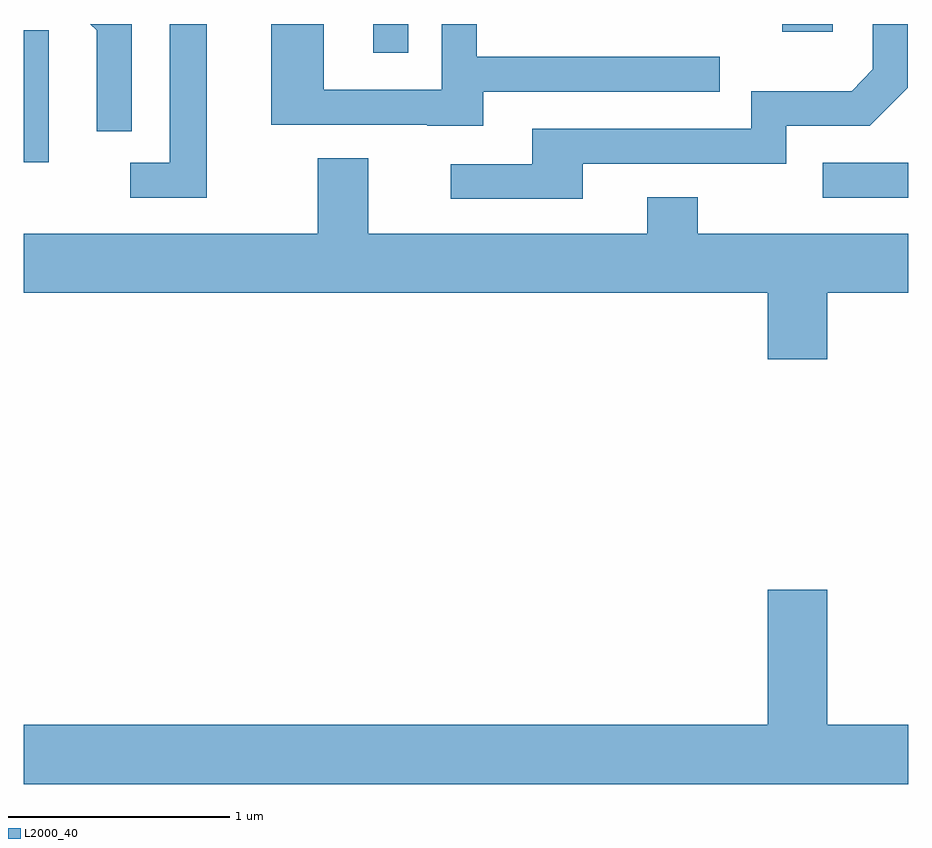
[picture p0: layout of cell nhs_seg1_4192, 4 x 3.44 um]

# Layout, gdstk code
import gdstk
lib = gdstk.Library(unit=1e-6, precision=1e-09)
def R(c, l, rs):  # rectangles x0, y0, x1, y1
    for r in rs: c.add(gdstk.rectangle(r[:2], r[2:], *l))
def P(c, l, *ps):  # polygons
    for p in ps: c.add(gdstk.Polygon(p, *l))
L2000_40 = (2000, 40)

nhs_seg1_4192 = lib.new_cell('nhs_seg1_4192')
R(nhs_seg1_4192, L2000_40, [(315.223,868.926,315.611,869.084), (311.611,869.086,311.724,869.684), (313.191,869.583,313.349,869.712), (315.041,869.676,315.269,869.712)])
P(nhs_seg1_4192, L2000_40, [(314.139,869.081),(315.059,869.081),(315.059,869.251),(315.437,869.251),(315.609,869.424),(315.609,869.712),(315.451,869.712),(315.451,869.507),(315.354,869.409),(314.901,869.409),(314.901,869.239),(313.911,869.239),(313.911,869.079),(313.543,869.079),(313.543,868.921),(314.139,868.921)],
  [(313.689,869.406),(314.758,869.406),(314.758,869.564),(313.659,869.564),(313.659,869.712),(313.501,869.712),(313.501,869.414),(312.969,869.414),(312.969,869.712),(312.731,869.712),(312.731,869.256),(313.435,869.256),(313.435,869.251),(313.689,869.251)],
  [(312.439,869.712),(312.271,869.712),(312.271,869.084),(312.093,869.084),(312.093,868.926),(312.439,868.926)],
  [(312.099,869.712),(311.913,869.712),(311.941,869.684),(311.941,869.228),(312.099,869.228)],
  [(315.244,868.496),(315.611,868.496),(315.611,868.764),(314.659,868.764),(314.659,868.929),(314.431,868.929),(314.431,868.764),(313.169,868.764),(313.169,869.104),(312.941,869.104),(312.941,868.764),(311.611,868.764),(311.611,868.496),(314.976,868.496),(314.976,868.196),(315.244,868.196)],
  [(315.611,866.544),(315.244,866.544),(315.244,867.154),(314.976,867.154),(314.976,866.544),(311.611,866.544),(311.611,866.276),(315.611,866.276)])

lib.write_gds('nhs_seg1_4192.gds')
